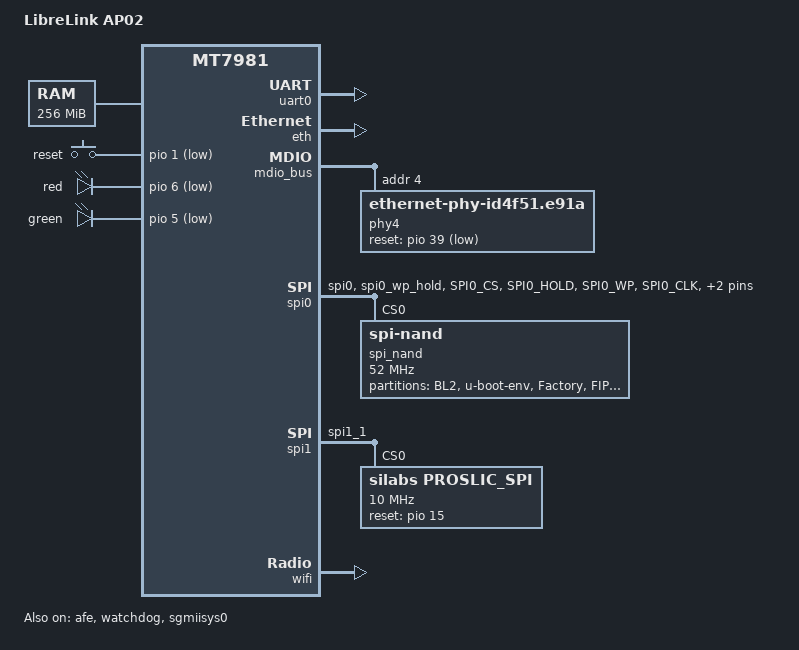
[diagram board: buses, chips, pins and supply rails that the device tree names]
/dts-v1/;
#include <dt-bindings/gpio/gpio.h>
#include <dt-bindings/input/input.h>
#include <dt-bindings/leds/common.h>
#include "mt7981b.dtsi"

/ {
        model = "LibreLink AP02";
        compatible = "librelink,ap02", "mediatek,mt7981";

        aliases {
                serial0 = &uart0;
                label-mac-device = &gmac0;
                led-boot = &led_white;
                led-failsafe = &led_white;
                led-running = &led_white;
                led-upgrade = &led_white;
        };

        chosen {
                stdout-path = "serial0:115200n8";
                bootargs-override =
                                    "console=ttyS0,115200n1 loglevel=8 earlycon=uart8250,mmio32,0x11002000";
        };

        memory {
                // fpga ddr2: 128MB*2
                reg = <0 0x40000000 0 0x10000000>;
        };

        gpio-keys {
                compatible = "gpio-keys";

                reset {
                        label = "reset";
                        linux,code = <KEY_RESTART>;
                        gpios = <&pio 1 GPIO_ACTIVE_LOW>;
                };
        };

        leds {
                compatible = "gpio-leds";

                led_lightblue: led@0 {
                        label = "red";
                        gpios = <&pio 6 GPIO_ACTIVE_LOW>;
                        default-state = "on";
                        linux,default-trigger = "timer";
                };

                led_white: led@1 {
                        label = "green";
                        gpios = <&pio 5 GPIO_ACTIVE_LOW>;
                        default-state = "on";
                        linux,default-trigger = "timer";
                };
        };
};

&afe {
        pinctrl-names = "default";
        pinctrl-0 = <&pcm_pins>;
        status = "okay";
};

&i2c0 {
        pinctrl-names = "default";
        pinctrl-0 = <&i2c_pins>;
        status = "disabled";

        wm8960: wm8960@1a {
                compatible = "wlf,wm8960";
                reg = <0x1a>;
        };
};

&uart0 {
        status = "okay";
};

&watchdog {
        status = "okay";
};

&eth {
        pinctrl-names = "default";
        pinctrl-0 = <&mdio_pins>;
        status = "okay";

        gmac0: mac@0 {
                compatible = "mediatek,eth-mac";
                reg = <0>;
                label = "lan";
                phy-mode = "sgmii";
                phy-handle = <&phy4>;
                managed = "in-band-status";
        };

        gmac1: mac@1 {
                compatible = "mediatek,eth-mac";
                reg = <1>;
                label = "wan";
                phy-mode = "gmii";
                phy-handle = <&int_gbe_phy>;
        };
};

&mdio_bus {
        phy4: yt8531sc-phy@4 {
                compatible = "ethernet-phy-id4f51.e91a", "ethernet-phy-ieee802.3-c22";
                reg = <4>;
                phy-mode = "sgmii";
                reset-gpios = <&pio 39 GPIO_ACTIVE_LOW>;
                reset-assert-us = <15000>;
                reset-deassert-us = <100000>;
        };
};

&spi0 {
        pinctrl-names = "default";
        pinctrl-0 = <&spi0_flash_pins>;
        status = "okay";

        spi_nand: spi_nand@0 {
                #address-cells = <1>;
                #size-cells = <1>;
                compatible = "spi-nand";
                reg = <0>;
                spi-max-frequency = <52000000>;
                spi-tx-bus-width = <4>;
                spi-rx-bus-width = <4>;
                mediatek,nmbm;
                mediatek,bmt-max-ratio = <1>;
                mediatek,bmt-max-reserved-blocks = <64>;

                partitions {
                        compatible = "fixed-partitions";
                        #address-cells = <1>;
                        #size-cells = <1>;

                        // 1MB
                        partition@0 {
                                label = "BL2";
                                reg = <0x00000 0x0100000>;
                                read-only;
                        };

                        // 512KB
                        partition@100000 {
                                label = "u-boot-env";
                                reg = <0x0100000 0x0080000>;
                        };

                        // 2MB
                        factory: partition@180000 {
                                label = "Factory";
                                reg = <0x180000 0x0200000>;
                        };

                        // 2MB
                        partition@380000 {
                                label = "FIP";
                                reg = <0x380000 0x0200000>;
                        };

                        // 114.5MB
                        partition@580000 {
                                label = "ubi";
                                reg = <0x0580000 0x07280000>;
                        };

                        // 8MB reserved for nmbm
                };
        };
};

&spi1 {
        pinctrl-names = "default";
        pinctrl-0 = <&spic_pins>;
        status = "okay";

        proslic_spi: proslic_spi@0 {
                compatible = "silabs,proslic_spi";
                reg = <0>;
                spi-max-frequency = <10000000>;
                spi-cpha = <1>;
                spi-cpol = <1>;
                channel_count = <1>;
                debug_level = <4>;       /* 1 = TRC, 2 = DBG, 4 = ERR */
                reset_gpio = <&pio 15 0>;
                ig,enable-spi = <1>;     /* 1: Enable, 0: Disable */
        };
};

&pio {
        i2c_pins: i2c-pins-g0 {
                mux {
                        function = "i2c";
                        groups = "i2c0_0";
                };
        };

        pcm_pins: pcm-pins-g0 {
                mux {
                        function = "pcm";
                        groups = "pcm";
                };
        };

        pwm0_pin: pwm0-pin-g0 {
                mux {
                        function = "pwm";
                        groups = "pwm0_0";
                };
        };

        pwm1_pin: pwm1-pin-g0 {
                mux {
                        function = "pwm";
                        groups = "pwm1_0";
                };
        };

        pwm2_pin: pwm2-pin {
                mux {
                        function = "pwm";
                        groups = "pwm2";
                };
        };

        spi0_flash_pins: spi0-pins {
                mux {
                        function = "spi";
                        groups = "spi0", "spi0_wp_hold";
                };

                conf-pu {
                        pins = "SPI0_CS", "SPI0_HOLD", "SPI0_WP";
                        drive-strength = <MTK_DRIVE_8mA>;
                        bias-pull-up = <MTK_PUPD_SET_R1R0_11>;
                };

                conf-pd {
                        pins = "SPI0_CLK", "SPI0_MOSI", "SPI0_MISO";
                        drive-strength = <MTK_DRIVE_8mA>;
                        bias-pull-down = <MTK_PUPD_SET_R1R0_11>;
                };
        };

        spic_pins: spi1-pins {
                mux {
                        function = "spi";
                        groups = "spi1_1";
                };
        };

        uart1_pins: uart1-pins-g1 {
                mux {
                        function = "uart";
                        groups = "uart1_1";
                };
        };

        uart2_pins: uart2-pins-g1 {
                mux {
                        function = "uart";
                        groups = "uart2_1";
                };
        };
};

&sgmiisys0 {
        status = "okay";
};

&wifi {
        status = "okay";
        mediatek,mtd-eeprom = <&factory 0x0>;
};
